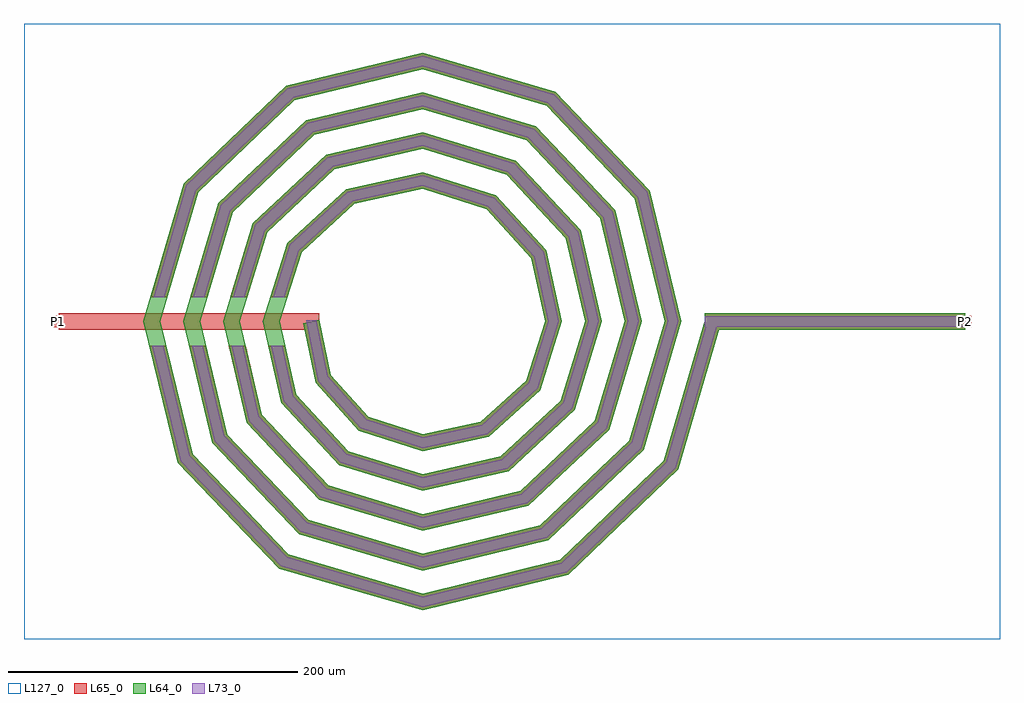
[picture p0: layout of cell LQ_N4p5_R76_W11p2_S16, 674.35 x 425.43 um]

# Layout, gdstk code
import gdstk
lib = gdstk.Library(unit=1e-6, precision=1e-09)
def R(c, l, rs):  # rectangles x0, y0, x1, y1
    for r in rs: c.add(gdstk.rectangle(r[:2], r[2:], *l))
def P(c, l, *ps):  # polygons
    for p in ps: c.add(gdstk.Polygon(p, *l))
L64_0 = (64, 0)
L65_0 = (65, 0)
L73_0 = (73, 0)
L127_0 = (127, 0)

lq_n4p5_r76_w11p2_s16 = lib.new_cell('LQ_N4p5_R76_W11p2_S16')
R(lq_n4p5_r76_w11p2_s16, L64_0, [(195.077,-5.6,375.077,5.6)])
P(lq_n4p5_r76_w11p2_s16, L64_0, [(-63.388,-36.958),(-37.57,-65.681),(0.296,-77.959),(40.375,-69.356),(71.625,-41.029),(84.836,0.273),(75.322,43.795),(44.485,77.571),(0.254,91.713),(-47.218,81.287),(-83.518,47.939),(-98.591,0.237),(-87.251,-50.643),(-51.391,-89.467),(0.223,-105.468),(54.069,-93.214),(95.416,-54.841),(112.346,0.21),(99.177,57.497),(58.291,101.366),(0.198,119.224),(-60.927,105.139),(-107.317,61.739),(-126.101,0.188),(-111.1,-64.357),(-65.186,-113.269),(0.179,-132.979),(67.788,-117.061),(119.221,-68.632),(139.857,0.17),(123.021,71.22),(72.078,125.173),(0.163,146.735),(-74.652,128.981),(-131.126,75.523),(-153.613,0.156),(-134.941,-78.085),(-78.968,-137.079),(0.149,-160.49),(81.519,-140.901),(143.032,-82.412),(167.368,0.143),(146.86,84.953),(85.856,148.986),(0.138,174.246),(-88.387,152.819),(-154.94,89.299),(-181.124,0.133),(-158.778,-91.822),(-92.743,-160.894),(0.128,-188.002),(95.257,-164.737),(166.848,-96.185),(195.3,1.565),(206.053,-1.565),(176.763,-102.198),(100.834,-174.903),(0.128,-199.595),(-98.763,-170.804),(-168.949,-97.391),(-192.717,0.133),(-164.845,95.328),(-93.948,162.994),(0.138,185.839),(91.894,158.886),(157.041,90.504),(178.96,0.143),(152.926,-88.46),(87.06,-151.087),(0.149,-172.082),(-85.026,-146.966),(-145.133,-83.616),(-165.204,0.156),(-141.007,81.592),(-80.171,139.18),(0.163,158.326),(78.159,135.046),(133.227,76.725),(151.448,0.17),(129.086,-74.727),(73.279,-127.274),(0.179,-144.569),(-71.296,-123.124),(-121.322,-69.832),(-137.691,0.188),(-117.163,67.865),(-66.384,115.37),(0.198,130.813),(64.435,111.201),(109.419,62.935),(123.934,0.21),(105.238,-61.006),(59.485,-103.468),(0.223,-117.056),(-57.579,-99.274),(-97.518,-56.034),(-110.178,0.237),(-93.309,54.153),(-52.581,91.569),(0.254,103.299),(50.728,87.344),(85.621,49.126),(96.42,0.273),(81.376,-47.307),(45.668,-79.675),(0.296,-89.541),(-43.887,-75.407),(-73.73,-42.207),(-82.353,-1.151),(-71.392,1.151)])
R(lq_n4p5_r76_w11p2_s16, L65_0, [(-251.272,-5.6,-71.272,5.6), (195.077,-5.6,375.077,5.6), (-255.272,-4,-247.272,4), (371.077,-4,379.077,4)])
P(lq_n4p5_r76_w11p2_s16, L65_0, [(-158.778,-91.822),(-92.743,-160.894),(0.128,-188.002),(95.257,-164.737),(166.848,-96.186),(195.3,1.565),(206.053,-1.565),(176.763,-102.198),(100.834,-174.903),(0.128,-199.595),(-98.763,-170.804),(-168.949,-97.391),(-188.59,-16.8),(-177.062,-16.8)],
  [(-134.941,-78.085),(-78.968,-137.079),(0.149,-160.491),(81.519,-140.901),(143.032,-82.412),(167.368,0.143),(146.86,84.953),(85.856,148.986),(0.138,174.246),(-88.387,152.819),(-154.94,89.3),(-176.167,16.8),(-187.837,16.8),(-164.845,95.328),(-93.948,162.995),(0.138,185.839),(91.894,158.886),(157.041,90.504),(178.961,0.143),(152.926,-88.46),(87.06,-151.087),(0.149,-172.082),(-85.026,-146.967),(-145.133,-83.616),(-161.142,-16.8),(-149.625,-16.8)],
  [(-111.1,-64.357),(-65.186,-113.269),(0.179,-132.979),(67.788,-117.061),(119.221,-68.632),(139.857,0.17),(123.021,71.22),(72.078,125.173),(0.163,146.735),(-74.652,128.981),(-131.126,75.523),(-148.575,16.8),(-160.259,16.8),(-141.007,81.592),(-80.171,139.18),(0.163,158.326),(78.16,135.046),(133.227,76.725),(151.448,0.17),(129.086,-74.727),(73.279,-127.274),(0.179,-144.57),(-71.296,-123.124),(-121.322,-69.832),(-133.72,-16.8),(-122.218,-16.8)],
  [(-87.251,-50.643),(-51.391,-89.467),(0.223,-105.468),(54.07,-93.215),(95.416,-54.841),(112.346,0.21),(99.177,57.498),(58.291,101.366),(0.198,119.224),(-60.927,105.139),(-107.317,61.739),(-120.948,16.8),(-132.652,16.8),(-117.163,67.865),(-66.384,115.37),(0.198,130.813),(64.435,111.201),(109.419,62.935),(123.935,0.21),(105.238,-61.006),(59.485,-103.468),(0.223,-117.056),(-57.579,-99.274),(-97.518,-56.034),(-106.345,-16.8),(-94.865,-16.8)],
  [(-37.57,-65.681),(0.296,-77.959),(40.375,-69.356),(71.625,-41.029),(84.836,0.274),(75.322,43.795),(44.485,77.571),(0.254,91.713),(-47.218,81.287),(-83.518,47.939),(-93.26,16.8),(-104.996,16.8),(-93.31,54.153),(-52.581,91.569),(0.254,103.299),(50.728,87.344),(85.621,49.126),(96.42,0.274),(81.376,-47.307),(45.668,-79.675),(0.296,-89.541),(-43.888,-75.407),(-73.73,-42.207),(-82.353,-1.151),(-71.392,1.151),(-63.388,-36.958)])
R(lq_n4p5_r76_w11p2_s16, L73_0, [(195.077,-3.6,375.077,3.6)])
P(lq_n4p5_r76_w11p2_s16, L73_0, [(-160.594,-92.816),(-93.818,-162.664),(0.082,-190.072),(96.253,-166.552),(168.619,-97.259),(197.22,1.006),(204.133,-1.006),(174.992,-101.125),(99.838,-173.088),(0.082,-197.525),(-97.688,-169.034),(-167.133,-96.397),(-186.531,-16.8),(-179.121,-16.8)],
  [(-136.761,-79.073),(-80.05,-138.845),(0.096,-162.561),(82.508,-142.72),(144.799,-83.492),(169.438,0.092),(148.678,85.944),(86.934,150.754),(0.089,176.316),(-89.38,154.636),(-156.709,90.376),(-178.251,16.8),(-185.753,16.8),(-163.076,94.252),(-92.955,161.178),(0.089,183.769),(90.816,157.118),(155.223,89.513),(176.89,0.092),(151.159,-87.38),(86.071,-149.268),(0.096,-170.012),(-83.944,-145.201),(-143.313,-82.628),(-159.085,-16.8),(-151.681,-16.8)],
  [(-112.925,-65.335),(-66.277,-115.029),(0.115,-135.049),(68.769,-118.885),(120.982,-69.721),(141.927,0.109),(124.844,72.203),(73.164,126.936),(0.105,148.805),(-75.638,130.803),(-132.89,76.607),(-150.661,16.8),(-158.172,16.8),(-139.242,80.509),(-79.185,137.359),(0.105,156.256),(77.074,133.283),(131.405,75.742),(149.378,0.109),(127.324,-73.639),(72.298,-125.451),(0.115,-142.5),(-70.205,-121.365),(-119.497,-68.854),(-131.666,-16.8),(-124.272,-16.8)],
  [(-89.085,-51.606),(-52.496,-91.218),(0.143,-107.538),(55.037,-95.046),(97.17,-55.942),(114.415,0.135),(101.006,58.469),(59.388,103.122),(0.128,121.293),(-61.901,106.966),(-109.075,62.833),(-123.038,16.8),(-130.562,16.8),(-115.405,66.771),(-65.41,113.543),(0.128,128.743),(63.338,109.445),(107.59,61.964),(121.865,0.135),(103.484,-59.905),(58.518,-101.637),(0.143,-114.987),(-56.474,-97.523),(-95.685,-55.071),(-104.295,-16.8),(-96.915,-16.8)],
  [(-38.698,-67.418),(0.19,-80.027),(41.32,-71.198),(73.367,-42.15),(86.905,0.176),(77.161,44.747),(45.6,79.316),(0.163,93.782),(-48.176,83.123),(-85.267,49.049),(-95.356,16.8),(-102.9,16.8),(-91.561,53.043),(-51.623,89.733),(0.163,101.23),(49.614,85.599),(83.782,48.174),(94.352,0.176),(79.635,-46.186),(44.723,-77.832),(0.19,-87.473),(-42.759,-73.67),(-71.883,-41.269),(-80.395,0.74),(-73.349,0.74),(-65.234,-37.895)])
R(lq_n4p5_r76_w11p2_s16, L127_0, [(-275.272,-219.595,399.077,205.839)])
lq_n4p5_r76_w11p2_s16.add(gdstk.Label('P2', (375.077,0), layer=65, texttype=0))
lq_n4p5_r76_w11p2_s16.add(gdstk.Label('P1', (-251.272,0), layer=65, texttype=0))
lq_n4p5_r76_w11p2_s16.add(gdstk.Label('P2', (379.077,0), layer=145, texttype=0))
lq_n4p5_r76_w11p2_s16.add(gdstk.Label('P1', (-255.272,0), layer=145, texttype=0))

lib.write_gds('LQ_N4p5_R76_W11p2_S16.gds')
